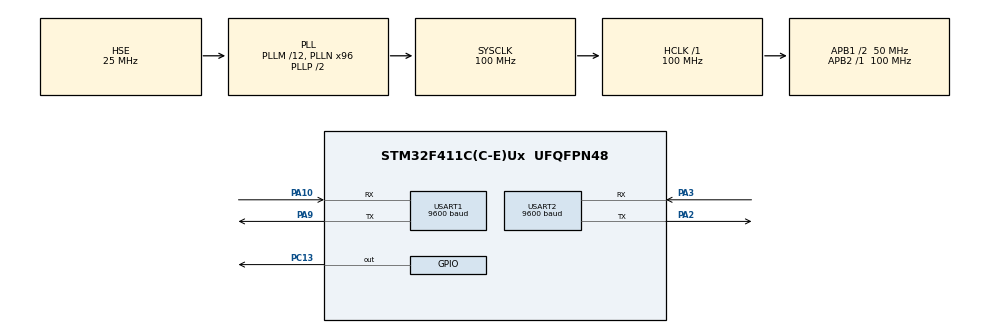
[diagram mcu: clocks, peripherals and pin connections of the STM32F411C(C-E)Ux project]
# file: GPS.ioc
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Dma.Request0=USART1_RX
Dma.Request1=USART1_TX
Dma.Request2=USART2_TX
Dma.USART1_RX.0.Direction=DMA_PERIPH_TO_MEMORY
Dma.USART1_RX.0.FIFOMode=DMA_FIFOMODE_DISABLE
Dma.USART1_RX.0.Instance=DMA2_Stream2
Dma.USART1_RX.0.MemDataAlignment=DMA_MDATAALIGN_BYTE
Dma.USART1_RX.0.MemInc=DMA_MINC_ENABLE
Dma.USART1_RX.0.Mode=DMA_NORMAL
Dma.USART1_RX.0.PeriphDataAlignment=DMA_PDATAALIGN_BYTE
Dma.USART1_RX.0.PeriphInc=DMA_PINC_DISABLE
Dma.USART1_RX.0.Priority=DMA_PRIORITY_VERY_HIGH
Dma.USART1_TX.1.Direction=DMA_MEMORY_TO_PERIPH
Dma.USART1_TX.1.FIFOMode=DMA_FIFOMODE_DISABLE
Dma.USART1_TX.1.Instance=DMA2_Stream7
Dma.USART1_TX.1.MemDataAlignment=DMA_MDATAALIGN_BYTE
Dma.USART1_TX.1.MemInc=DMA_MINC_ENABLE
Dma.USART1_TX.1.Mode=DMA_NORMAL
Dma.USART1_TX.1.PeriphDataAlignment=DMA_PDATAALIGN_BYTE
Dma.USART1_TX.1.PeriphInc=DMA_PINC_DISABLE
Dma.USART1_TX.1.Priority=DMA_PRIORITY_VERY_HIGH
Dma.USART2_TX.2.Direction=DMA_MEMORY_TO_PERIPH
Dma.USART2_TX.2.FIFOMode=DMA_FIFOMODE_DISABLE
Dma.USART2_TX.2.Instance=DMA1_Stream6
Dma.USART2_TX.2.MemDataAlignment=DMA_MDATAALIGN_BYTE
Dma.USART2_TX.2.MemInc=DMA_MINC_ENABLE
Dma.USART2_TX.2.Mode=DMA_NORMAL
Dma.USART2_TX.2.PeriphDataAlignment=DMA_PDATAALIGN_BYTE
Dma.USART2_TX.2.PeriphInc=DMA_PINC_DISABLE
Dma.USART2_TX.2.Priority=DMA_PRIORITY_HIGH
Mcu.Family=STM32F4
Mcu.Name=STM32F411C(C-E)Ux
Mcu.Package=UFQFPN48
NVIC.DMA1_Stream6_IRQn=true\:0\:0\:false\:false\:true\:false\:true\:true
NVIC.DMA2_Stream2_IRQn=true\:0\:0\:false\:false\:true\:true\:true\:true
NVIC.DMA2_Stream7_IRQn=true\:0\:0\:false\:false\:true\:true\:true\:true
NVIC.PriorityGroup=NVIC_PRIORITYGROUP_4
NVIC.USART1_IRQn=true\:0\:0\:false\:false\:true\:true\:true\:true
NVIC.USART2_IRQn=true\:0\:0\:false\:false\:true\:true\:true\:true
PA10.Mode=Asynchronous
PA10.Signal=USART1_RX
PA13.Mode=Serial_Wire
PA13.Signal=SYS_JTMS-SWDIO
PA14.Mode=Serial_Wire
PA14.Signal=SYS_JTCK-SWCLK
PA2.Mode=Asynchronous
PA2.Signal=USART2_TX
PA3.Mode=Asynchronous
PA3.Signal=USART2_RX
PA9.Mode=Asynchronous
PA9.Signal=USART1_TX
PC13-ANTI_TAMP.Signal=GPIO_Output
PH0\ -\ OSC_IN.Mode=HSE-External-Oscillator
PH0\ -\ OSC_IN.Signal=RCC_OSC_IN
PH1\ -\ OSC_OUT.Mode=HSE-External-Oscillator
PH1\ -\ OSC_OUT.Signal=RCC_OSC_OUT
ProjectManager.HeapSize=0x200
ProjectManager.StackSize=0x400
ProjectManager.TargetToolchain=STM32CubeIDE
RCC.48MHZClocksFreq_Value=50000000
RCC.AHBFreq_Value=100000000
RCC.APB1CLKDivider=RCC_HCLK_DIV2
RCC.APB1Freq_Value=50000000
RCC.APB1TimFreq_Value=100000000
RCC.APB2Freq_Value=100000000
RCC.APB2TimFreq_Value=100000000
RCC.CortexFreq_Value=100000000
RCC.HCLKFreq_Value=100000000
RCC.HSE_VALUE=25000000
RCC.HSI_VALUE=16000000
RCC.LSE_VALUE=32768
RCC.PLLM=12
RCC.PLLN=96
RCC.PLLSourceVirtual=RCC_PLLSOURCE_HSE
RCC.SYSCLKFreq_VALUE=100000000
RCC.SYSCLKSource=RCC_SYSCLKSOURCE_PLLCLK
RCC.VCOOutputFreq_Value=200000000
USART1.BaudRate=9600
USART1.VirtualMode=VM_ASYNC
USART2.BaudRate=9600
USART2.VirtualMode=VM_ASYNC
board=custom

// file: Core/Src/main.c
/* USER CODE BEGIN Header */
/**
 ******************************************************************************
 * @file           : main.c
 * @brief          : Main program body
 ******************************************************************************
 * @attention
 *
 * Copyright (c) 2023 STMicroelectronics.
 * All rights reserved.
 *
 * This software is licensed under terms that can be found in the LICENSE file
 * in the root directory of this software component.
 * If no LICENSE file comes with this software, it is provided AS-IS.
 *
 ******************************************************************************
 */
/* USER CODE END Header */
#include "main.h"
#include "dma.h"
#include "usart.h"
#include "gpio.h"

/* USER CODE BEGIN Includes */
#include "stdio.h"
#include "gps.h"
#include "string.h"
/* USER CODE END Includes */

/* USER CODE BEGIN PD */
#ifdef __GNUC__
#define PUTCHAR_PROTOTYPE int __io_putchar(int ch)
#else
#define PUTCHAR_PROTOTYPE int fputc(int ch, FILE *f)
#endif /* __GNUC__ */
PUTCHAR_PROTOTYPE
{
	/* Place your implementation of fputc here */
	/* e.g. write a character to the USART */
	huart2.Instance->DR = (uint8_t) ch;

	/* Loop until the end of transmission */
	while (__HAL_UART_GET_FLAG(&huart2, UART_FLAG_TC) == RESET)
	{
	}

	return ch;
}
/* USER CODE END PD */

/* USER CODE BEGIN PV */
extern UART_HandleTypeDef huart1;
extern DMA_HandleTypeDef hdma_usart1_rx;
extern char USART_RX_BUF[USART_REC_LEN];
extern _SaveData Save_Data;
char rx_flag = 0;
int size = 0, rx_count = 0;
/* USER CODE END PV */

void SystemClock_Config(void);

int main(void)
{

  /* MCU Configuration--------------------------------------------------------*/

  /* Reset of all peripherals, Initializes the Flash interface and the Systick. */
  HAL_Init();

  /* Configure the system clock */
  SystemClock_Config();

  /* Initialize all configured peripherals */
  MX_GPIO_Init();
  MX_DMA_Init();
  MX_USART1_UART_Init();
  MX_USART2_UART_Init();
  /* USER CODE BEGIN 2 */
	printf("hello\r\n");
	/*
	 __HAL_UART_ENABLE_IT(&huart1, UART_IT_IDLE);
	 __HAL_DMA_ENABLE(&hdma_usart1_rx);
	 HAL_UART_Receive_DMA(&huart1, USART_RX_BUF, 1600);
	 */
	//开启DMA空闲中断
	HAL_UARTEx_ReceiveToIdle_DMA(&huart1, (uint8_t*)&USART_RX_BUF, 1600);
  /* USER CODE END 2 */

  /* Infinite loop */
  /* USER CODE BEGIN WHILE */
	while (1)
	{
		//获取到数据，标志位已置1
		if (Save_Data.isGetData == 1)
		{
			//接收标志位置1
			rx_flag = 0;
			//反转电平，LED等闪烁
			HAL_GPIO_TogglePin(GPIOC, GPIO_PIN_13);
			// HAL_UART_Transmit_DMA(&huart2, Save_Data.GPS_Buffer, 80);
			//解析接收到的数据
			parseGpsBuffer();
			Save_Data.isGetData = 0;
		}
    /* USER CODE END WHILE */

	}
}

void SystemClock_Config(void)
{
  RCC_OscInitTypeDef RCC_OscInitStruct = {0};
  RCC_ClkInitTypeDef RCC_ClkInitStruct = {0};

  /** Configure the main internal regulator output voltage
  */
  __HAL_RCC_PWR_CLK_ENABLE();
  __HAL_PWR_VOLTAGESCALING_CONFIG(PWR_REGULATOR_VOLTAGE_SCALE1);

  /** Initializes the RCC Oscillators according to the specified parameters
  * in the RCC_OscInitTypeDef structure.
  */
  RCC_OscInitStruct.OscillatorType = RCC_OSCILLATORTYPE_HSE;
  RCC_OscInitStruct.HSEState = RCC_HSE_ON;
  RCC_OscInitStruct.PLL.PLLState = RCC_PLL_ON;
  RCC_OscInitStruct.PLL.PLLSource = RCC_PLLSOURCE_HSE;
  RCC_OscInitStruct.PLL.PLLM = 12;
  RCC_OscInitStruct.PLL.PLLN = 96;
  RCC_OscInitStruct.PLL.PLLP = RCC_PLLP_DIV2;
  RCC_OscInitStruct.PLL.PLLQ = 4;
  if (HAL_RCC_OscConfig(&RCC_OscInitStruct) != HAL_OK)
  {
    Error_Handler();
  }

  /** Initializes the CPU, AHB and APB buses clocks
  */
  RCC_ClkInitStruct.ClockType = RCC_CLOCKTYPE_HCLK|RCC_CLOCKTYPE_SYSCLK
                              |RCC_CLOCKTYPE_PCLK1|RCC_CLOCKTYPE_PCLK2;
  RCC_ClkInitStruct.SYSCLKSource = RCC_SYSCLKSOURCE_PLLCLK;
  RCC_ClkInitStruct.AHBCLKDivider = RCC_SYSCLK_DIV1;
  RCC_ClkInitStruct.APB1CLKDivider = RCC_HCLK_DIV2;
  RCC_ClkInitStruct.APB2CLKDivider = RCC_HCLK_DIV1;

  if (HAL_RCC_ClockConfig(&RCC_ClkInitStruct, FLASH_LATENCY_3) != HAL_OK)
  {
    Error_Handler();
  }
}

/* USER CODE BEGIN 4 */
//回调函数，当接收到数据时调用此函数
void HAL_UART_IdleCpltCallback(UART_HandleTypeDef *huart)
{
	extern char USART_RX_BUF[USART_REC_LEN];
	extern DMA_HandleTypeDef hdma_usart1_rx;
	if (huart == &huart1)
	{
		HAL_UART_DMAStop(huart);
		/***********************************************/
		char *p;
		//寻找“strstr”字符串，将地址给p
		p = strstr(USART_RX_BUF, "GNRMC");
		//如果找到“strstr”，则地址不为空
		if (p != NULL)
		{
			//printf("s:%d\r\n",(uint32_t)(p - USART_RX_BUF));
			//判断字符串出现的位置
			if ((p >= USART_RX_BUF) && (p < &USART_RX_BUF[1000])
					&& ((p - USART_RX_BUF) < 500))
			{

				memset(Save_Data.GPS_Buffer, 0, GPS_Buffer_Length);//清空数据缓冲区
				memcpy(Save_Data.GPS_Buffer, p, 80); 	//保存数据
				Save_Data.isGetData = true;//获取到数据，标志位置1

			}
			rx_flag = 1;//接收标志位置1
		}
		//memset(USART_RX_BUF, 0, USART_REC_LEN);      //清空

		//HAL_GPIO_TogglePin(GPIOC, GPIO_PIN_13);
		rx_count++;
		/********************************************************************************/
		//当前接收到的数据大小
		size = 1600 - __HAL_DMA_GET_COUNTER(&hdma_usart1_rx);
		//清除空闲接收标志位
		__HAL_UART_CLEAR_IDLEFLAG(&huart1);
		//重新开启DMA接收
		HAL_UART_Receive_DMA(&huart1, (uint8_t*)&USART_RX_BUF, 1600);

	}
}
//回调函数，当接收到数据时调用此函数
void HAL_UARTEx_RxEventCallback(UART_HandleTypeDef *huart, uint16_t Size)
{
	if (Size == 800)
	{
		return;
	}
	if (huart == &huart1)
	{

		HAL_GPIO_TogglePin(GPIOC, GPIO_PIN_13);
		printf("size:%d\r\n", Size);
		/*************************************/
		char *p;
		p = strstr(USART_RX_BUF, "GNRMC");
		if (p != NULL)
		{
			printf("s:%d\r\n", (uint32_t)(p - USART_RX_BUF));
			if ((p >= USART_RX_BUF) && (p < &USART_RX_BUF[1000])
					&& ((p - USART_RX_BUF) < 1000))
			{
				memset(&Save_Data.GPS_Buffer, 0, GPS_Buffer_Length);      //清空
				memcpy(&Save_Data.GPS_Buffer, p, 80); 	//保存数据
				Save_Data.isGetData = true;
				HAL_UART_Transmit_DMA(&huart2, (uint8_t*)(&Save_Data.GPS_Buffer), 80);
			}
		}
		/**********************************/
		HAL_UARTEx_ReceiveToIdle_DMA(&huart1,(uint8_t*)&USART_RX_BUF, 1600);
	}
}
/* USER CODE END 4 */

void Error_Handler(void)
{
	__disable_irq();
	while (1)
	{
	}
}
